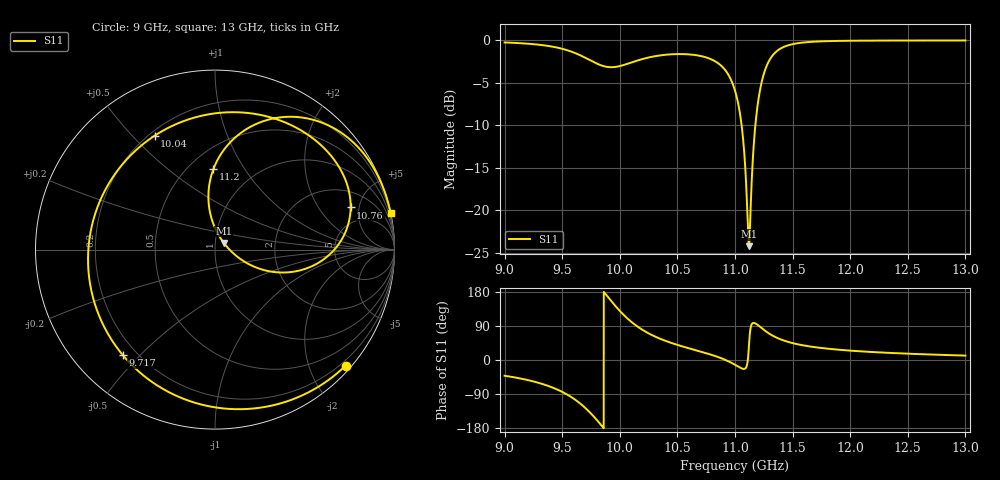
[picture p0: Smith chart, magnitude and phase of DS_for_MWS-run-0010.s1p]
! TOUCHSTONE file generated by CST DESIGN STUDIO
! Date and time: Tue Feb  4 14:40:48 2025
! Project name: C:\Work\MatlabApps\UnitCellOptimizationMatlab\CST\unitcell.cst
! Tree item: Tasks\Sweep1\SPara1\S-Parameters
! Header version: 2024
! Port assignment regex: !\s*Touchstone port\s*([0-9]+)\s*=\s*(CST MWS port|CST DES external port|CST DES block port)\s*(.+)\s* \(\"(.*)\"\)(\s*mode\s*([0-9]+))?.*
! Touchstone port assignment:
! Touchstone port 1 = CST DES external port 1 ("")
# GHz S MA R 50
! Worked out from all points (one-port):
!   4001 points, 9 GHz to 13 GHz, reference 50 ohm
!   lowest |S11| = -24.2 dB at 11.12 GHz (marker M1), VSWR 1.13, Z = 55 + j4.15 ohm
!   |S11| at or under -10 dB: 11.06 GHz to 11.18 GHz (119.1 MHz wide, 1.07 % of centre)
!   S11 on the Smith chart (normalised r, x): 9 GHz: 0.11, -2.63; 9.717 GHz: 0.15, -0.44; 10.04 GHz: 0.22, +0.58; 10.76 GHz: 3.25, +4.09; 11.2 GHz: 0.66, +0.73; 13 GHz: 0.01, +9.81
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9  0.9733 -41.6
9.28  0.9465 -59.0
9.5  0.8929 -84.2
9.617  0.8401 -105.8
9.717  0.7804 -131.3
9.792  0.7353 -155.3
9.857  0.7067 -178.8
10  0.7068 129.5
10.037  0.7182 117.9
10.208  0.7811 77.5
10.345  0.8158 56.7
10.5  0.8314 39.8
10.757  0.7915 17.3
10.896  0.6928 2.8
11  0.5066 -12.5
11.063  0.2935 -22.7
11.109  0.08927 -5.3
11.121  0.06162 37.7
11.134  0.09576 82.5
11.169  0.2765 97.6
11.203  0.4479 91.2
11.255  0.6517 78.6
11.311  0.7897 67.0
11.5  0.9511 44.6
11.696  0.9843 33.7
12  0.9959 24.7
12.5  0.9992 16.7
13  0.9998 11.6
